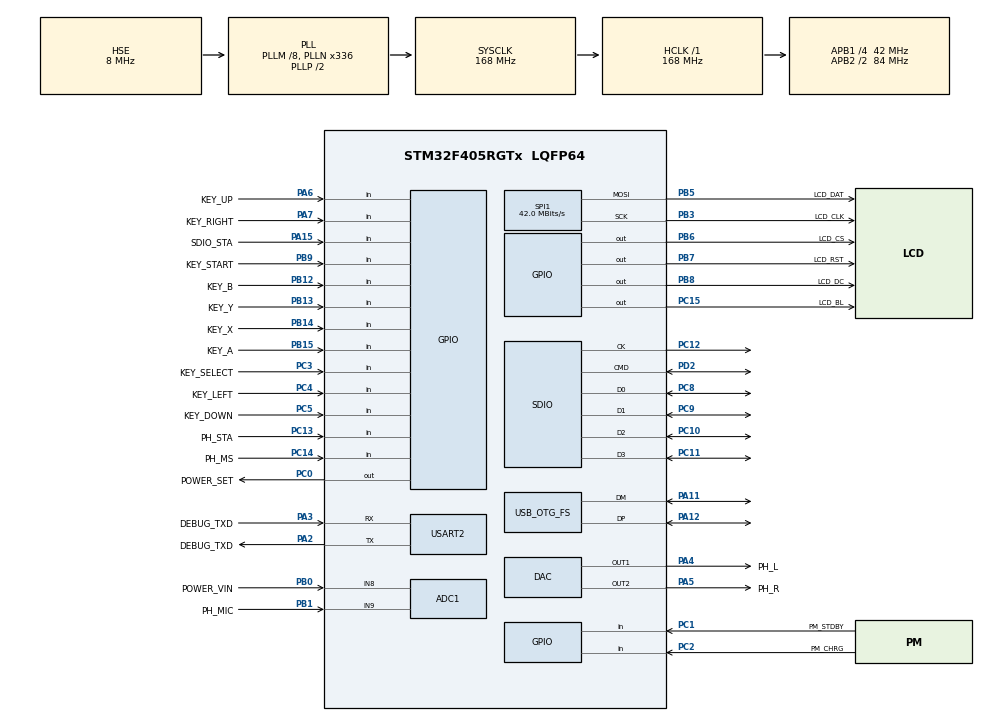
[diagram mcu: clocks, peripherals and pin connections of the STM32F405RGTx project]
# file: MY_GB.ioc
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ADC1.Channel-0\#ChannelRegularConversion=ADC_CHANNEL_8
ADC1.NbrOfConversionFlag=1
ADC1.Rank-0\#ChannelRegularConversion=1
ADC1.SamplingTime-0\#ChannelRegularConversion=ADC_SAMPLETIME_3CYCLES
ADC1.master=1
Dma.DAC1.3.Direction=DMA_MEMORY_TO_PERIPH
Dma.DAC1.3.FIFOMode=DMA_FIFOMODE_DISABLE
Dma.DAC1.3.Instance=DMA1_Stream5
Dma.DAC1.3.MemDataAlignment=DMA_MDATAALIGN_HALFWORD
Dma.DAC1.3.MemInc=DMA_MINC_ENABLE
Dma.DAC1.3.Mode=DMA_NORMAL
Dma.DAC1.3.PeriphDataAlignment=DMA_PDATAALIGN_HALFWORD
Dma.DAC1.3.PeriphInc=DMA_PINC_DISABLE
Dma.DAC1.3.Priority=DMA_PRIORITY_HIGH
Dma.DAC2.4.Direction=DMA_MEMORY_TO_PERIPH
Dma.DAC2.4.FIFOMode=DMA_FIFOMODE_DISABLE
Dma.DAC2.4.Instance=DMA1_Stream6
Dma.DAC2.4.MemDataAlignment=DMA_MDATAALIGN_HALFWORD
Dma.DAC2.4.MemInc=DMA_MINC_ENABLE
Dma.DAC2.4.Mode=DMA_NORMAL
Dma.DAC2.4.PeriphDataAlignment=DMA_PDATAALIGN_HALFWORD
Dma.DAC2.4.PeriphInc=DMA_PINC_DISABLE
Dma.DAC2.4.Priority=DMA_PRIORITY_HIGH
Dma.Request0=SDIO_RX
Dma.Request1=SDIO_TX
Dma.Request2=SPI1_TX
Dma.Request3=DAC1
Dma.Request4=DAC2
Dma.SDIO_RX.0.Direction=DMA_PERIPH_TO_MEMORY
Dma.SDIO_RX.0.FIFOMode=DMA_FIFOMODE_ENABLE
Dma.SDIO_RX.0.FIFOThreshold=DMA_FIFO_THRESHOLD_FULL
Dma.SDIO_RX.0.Instance=DMA2_Stream3
Dma.SDIO_RX.0.MemBurst=DMA_MBURST_INC4
Dma.SDIO_RX.0.MemDataAlignment=DMA_MDATAALIGN_WORD
Dma.SDIO_RX.0.MemInc=DMA_MINC_ENABLE
Dma.SDIO_RX.0.Mode=DMA_PFCTRL
Dma.SDIO_RX.0.PeriphBurst=DMA_PBURST_INC4
Dma.SDIO_RX.0.PeriphDataAlignment=DMA_PDATAALIGN_WORD
Dma.SDIO_RX.0.PeriphInc=DMA_PINC_DISABLE
Dma.SDIO_RX.0.Priority=DMA_PRIORITY_VERY_HIGH
Dma.SDIO_TX.1.Direction=DMA_MEMORY_TO_PERIPH
Dma.SDIO_TX.1.FIFOMode=DMA_FIFOMODE_ENABLE
Dma.SDIO_TX.1.FIFOThreshold=DMA_FIFO_THRESHOLD_FULL
Dma.SDIO_TX.1.Instance=DMA2_Stream6
Dma.SDIO_TX.1.MemBurst=DMA_MBURST_INC4
Dma.SDIO_TX.1.MemDataAlignment=DMA_MDATAALIGN_WORD
Dma.SDIO_TX.1.MemInc=DMA_MINC_ENABLE
Dma.SDIO_TX.1.Mode=DMA_PFCTRL
Dma.SDIO_TX.1.PeriphBurst=DMA_PBURST_INC4
Dma.SDIO_TX.1.PeriphDataAlignment=DMA_PDATAALIGN_WORD
Dma.SDIO_TX.1.PeriphInc=DMA_PINC_DISABLE
Dma.SDIO_TX.1.Priority=DMA_PRIORITY_VERY_HIGH
Dma.SPI1_TX.2.Direction=DMA_MEMORY_TO_PERIPH
Dma.SPI1_TX.2.FIFOMode=DMA_FIFOMODE_DISABLE
Dma.SPI1_TX.2.Instance=DMA2_Stream5
Dma.SPI1_TX.2.MemDataAlignment=DMA_MDATAALIGN_HALFWORD
Dma.SPI1_TX.2.MemInc=DMA_MINC_ENABLE
Dma.SPI1_TX.2.Mode=DMA_NORMAL
Dma.SPI1_TX.2.PeriphDataAlignment=DMA_PDATAALIGN_HALFWORD
Dma.SPI1_TX.2.PeriphInc=DMA_PINC_DISABLE
Dma.SPI1_TX.2.Priority=DMA_PRIORITY_VERY_HIGH
FATFS.BSP.number=1
FATFS._FS_NORTC=1
FATFS0.BSP.STBoard=false
FATFS0.BSP.api=Unknown
FATFS0.BSP.i2caddr=0
FATFS0.BSP.instance=PA15
FATFS0.BSP.ip=GPIO
FATFS0.BSP.mode=Input
FATFS0.BSP.name=Detect_SDIO
FATFS0.BSP.solution=PA15
Mcu.Family=STM32F4
Mcu.Name=STM32F405RGTx
Mcu.Package=LQFP64
NVIC.DMA1_Stream5_IRQn=true\:0\:0\:false\:false\:true\:false
NVIC.DMA1_Stream6_IRQn=true\:0\:0\:false\:false\:true\:false
NVIC.DMA2_Stream3_IRQn=true\:0\:0\:false\:false\:true\:false
NVIC.DMA2_Stream5_IRQn=true\:0\:0\:false\:false\:true\:false
NVIC.DMA2_Stream6_IRQn=true\:0\:0\:false\:false\:true\:false
NVIC.OTG_FS_IRQn=true\:0\:0\:false\:false\:true\:false
NVIC.PriorityGroup=NVIC_PRIORITYGROUP_4
NVIC.SDIO_IRQn=true\:0\:0\:false\:false\:true\:true
NVIC.TIM8_TRG_COM_TIM14_IRQn=true\:0\:0\:false\:false\:true\:false
NVIC.TIM8_UP_TIM13_IRQn=true\:0\:0\:false\:false\:true\:true
NVIC.TimeBase=TIM8_TRG_COM_TIM14_IRQn
NVIC.TimeBaseIP=TIM14
PA11.Mode=Device_Only
PA11.Signal=USB_OTG_FS_DM
PA12.Mode=Device_Only
PA12.Signal=USB_OTG_FS_DP
PA13.Mode=Serial_Wire
PA13.Signal=SYS_JTMS-SWDIO
PA14.Mode=Serial_Wire
PA14.Signal=SYS_JTCK-SWCLK
PA15.GPIO_Label=SDIO_STA
PA15.GPIO_PuPd=GPIO_PULLUP
PA15.Signal=GPIO_Input
PA2.GPIO_Label=DEBUG_TXD
PA2.Mode=Asynchronous
PA2.Signal=USART2_TX
PA3.GPIO_Label=DEBUG_TXD
PA3.Mode=Asynchronous
PA3.Signal=USART2_RX
PA4.GPIO_Label=PH_L
PA4.Signal=COMP_DAC1_group
PA5.GPIO_Label=PH_R
PA5.Signal=COMP_DAC2_group
PA6.GPIO_Label=KEY_UP
PA6.GPIO_PuPd=GPIO_PULLUP
PA6.Signal=GPIO_Input
PA7.GPIO_Label=KEY_RIGHT
PA7.GPIO_PuPd=GPIO_PULLUP
PA7.Signal=GPIO_Input
PB0.GPIO_Label=POWER_VIN
PB0.Signal=ADCx_IN8
PB1.GPIO_Label=PH_MIC
PB1.Signal=ADCx_IN9
PB12.GPIO_Label=KEY_B
PB12.GPIO_PuPd=GPIO_PULLUP
PB12.Signal=GPIO_Input
PB13.GPIO_Label=KEY_Y
PB13.GPIO_PuPd=GPIO_PULLUP
PB13.Signal=GPIO_Input
PB14.GPIO_Label=KEY_X
PB14.GPIO_PuPd=GPIO_PULLUP
PB14.Signal=GPIO_Input
PB15.GPIO_Label=KEY_A
PB15.GPIO_PuPd=GPIO_PULLUP
PB15.Signal=GPIO_Input
PB3.GPIO_Label=LCD_CLK
PB3.Mode=TX_Only_Simplex_Unidirect_Master
PB3.Signal=SPI1_SCK
PB5.GPIO_Label=LCD_DAT
PB5.Mode=TX_Only_Simplex_Unidirect_Master
PB5.Signal=SPI1_MOSI
PB6.GPIO_Label=LCD_CS
PB6.PinState=GPIO_PIN_SET
PB6.Signal=GPIO_Output
PB7.GPIO_Label=LCD_RST
PB7.PinState=GPIO_PIN_SET
PB7.Signal=GPIO_Output
PB8.GPIO_Label=LCD_DC
PB8.Signal=GPIO_Output
PB9.GPIO_Label=KEY_START
PB9.Signal=GPIO_Input
PC0.GPIO_Label=POWER_SET
PC0.PinState=GPIO_PIN_RESET
PC0.Signal=GPIO_Output
PC1.GPIO_Label=PM_STDBY
PC1.GPIO_Mode=GPIO_MODE_INPUT
PC1.GPIO_PuPd=GPIO_PULLUP
PC1.Signal=GPIO_Input
PC10.Mode=SD_4_bits_Wide_bus
PC10.Signal=SDIO_D2
PC11.Mode=SD_4_bits_Wide_bus
PC11.Signal=SDIO_D3
PC12.Mode=SD_4_bits_Wide_bus
PC12.Signal=SDIO_CK
PC13-ANTI_TAMP.GPIO_Label=PH_STA
PC13-ANTI_TAMP.GPIO_PuPd=GPIO_PULLUP
PC13-ANTI_TAMP.Signal=GPIO_Input
PC14-OSC32_IN.GPIO_Label=PH_MS
PC14-OSC32_IN.GPIO_PuPd=GPIO_PULLUP
PC14-OSC32_IN.Signal=GPIO_Input
PC15-OSC32_OUT.GPIO_Label=LCD_BL
PC15-OSC32_OUT.PinState=GPIO_PIN_SET
PC15-OSC32_OUT.Signal=GPIO_Output
PC2.GPIO_Label=PM_CHRG
PC2.GPIO_Mode=GPIO_MODE_INPUT
PC2.GPIO_PuPd=GPIO_PULLUP
PC2.Signal=GPIO_Input
PC3.GPIO_Label=KEY_SELECT
PC3.GPIO_PuPd=GPIO_PULLUP
PC3.Signal=GPIO_Input
PC4.GPIO_Label=KEY_LEFT
PC4.GPIO_PuPd=GPIO_PULLUP
PC4.Signal=GPIO_Input
PC5.GPIO_Label=KEY_DOWN
PC5.GPIO_PuPd=GPIO_PULLUP
PC5.Signal=GPIO_Input
PC8.Mode=SD_4_bits_Wide_bus
PC8.Signal=SDIO_D0
PC9.Mode=SD_4_bits_Wide_bus
PC9.Signal=SDIO_D1
PD2.Mode=SD_4_bits_Wide_bus
PD2.Signal=SDIO_CMD
PH0-OSC_IN.Mode=HSE-External-Oscillator
PH0-OSC_IN.Signal=RCC_OSC_IN
PH1-OSC_OUT.Mode=HSE-External-Oscillator
PH1-OSC_OUT.Signal=RCC_OSC_OUT
ProjectManager.HeapSize=0x1200
ProjectManager.StackSize=0x400
ProjectManager.TargetToolchain=MDK-ARM V5
RCC.48MHZClocksFreq_Value=48000000
RCC.AHBFreq_Value=168000000
RCC.APB1CLKDivider=RCC_HCLK_DIV4
RCC.APB1Freq_Value=42000000
RCC.APB1TimFreq_Value=84000000
RCC.APB2CLKDivider=RCC_HCLK_DIV2
RCC.APB2Freq_Value=84000000
RCC.APB2TimFreq_Value=168000000
RCC.CortexFreq_Value=168000000
RCC.HCLKFreq_Value=168000000
RCC.HSE_VALUE=8000000
RCC.HSI_VALUE=16000000
RCC.LSE_VALUE=32768
RCC.PLLM=8
RCC.PLLN=336
RCC.PLLQ=7
RCC.SYSCLKFreq_VALUE=168000000
RCC.SYSCLKSource=RCC_SYSCLKSOURCE_PLLCLK
RCC.VCOOutputFreq_Value=336000000
SDIO.ClockDiv=0
SH.ADCx_IN8.0=ADC1_IN8,IN8
SH.ADCx_IN9.0=ADC1_IN9,IN9
SH.COMP_DAC1_group.0=DAC_OUT1,DAC_OUT1
SH.COMP_DAC2_group.0=DAC_OUT2,DAC_OUT2
SPI1.BaudRatePrescaler=SPI_BAUDRATEPRESCALER_2
SPI1.CLKPhase=SPI_PHASE_2EDGE
SPI1.CLKPolarity=SPI_POLARITY_HIGH
SPI1.CalculateBaudRate=42.0 MBits/s
SPI1.Direction=SPI_DIRECTION_2LINES
SPI1.Mode=SPI_MODE_MASTER
SPI1.VirtualType=VM_MASTER
TIM13.Period=155
TIM13.Prescaler=83
USART2.VirtualMode=VM_ASYNC
USB_DEVICE.CLASS_NAME_FS=MSC
USB_DEVICE.MANUFACTURER_STRING-MSC_FS=LeonDevice
USB_DEVICE.VirtualMode-MSC_FS=Msc
USB_DEVICE.VirtualModeFS=Msc_FS
USB_OTG_FS.VirtualMode=Device_Only
VP_FATFS_VS_SDIO.Mode=SDIO
VP_SYS_VS_tim14.Mode=TIM14
VP_TIM13_VS_ClockSourceINT.Mode=Enable_Timer
VP_USB_DEVICE_VS_USB_DEVICE_MSC_FS.Mode=MSC_FS
board=custom

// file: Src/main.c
/* USER CODE BEGIN Header */
/**
  ******************************************************************************
  * @file           : main.c
  * @brief          : Main program body
  ******************************************************************************
  * This notice applies to any and all portions of this file
  * that are not between comment pairs USER CODE BEGIN and
  * USER CODE END. Other portions of this file, whether
  * inserted by the user or by software development tools
  * are owned by their respective copyright owners.
  *
  * Copyright (c) 2019 STMicroelectronics International N.V.
  * All rights reserved.
  *
  * Redistribution and use in source and binary forms, with or without
  * modification, are permitted, provided that the following conditions are met:
  *
  * 1. Redistribution of source code must retain the above copyright notice,
  *    this list of conditions and the following disclaimer.
  * 2. Redistributions in binary form must reproduce the above copyright notice,
  *    this list of conditions and the following disclaimer in the documentation
  *    and/or other materials provided with the distribution.
  * 3. Neither the name of STMicroelectronics nor the names of other
  *    contributors to this software may be used to endorse or promote products
  *    derived from this software without specific written permission.
  * 4. This software, including modifications and/or derivative works of this
  *    software, must execute solely and exclusively on microcontroller or
  *    microprocessor devices manufactured by or for STMicroelectronics.
  * 5. Redistribution and use of this software other than as permitted under
  *    this license is void and will automatically terminate your rights under
  *    this license.
  *
  * THIS SOFTWARE IS PROVIDED BY STMICROELECTRONICS AND CONTRIBUTORS "AS IS"
  * AND ANY EXPRESS, IMPLIED OR STATUTORY WARRANTIES, INCLUDING, BUT NOT
  * LIMITED TO, THE IMPLIED WARRANTIES OF MERCHANTABILITY, FITNESS FOR A
  * PARTICULAR PURPOSE AND NON-INFRINGEMENT OF THIRD PARTY INTELLECTUAL PROPERTY
  * RIGHTS ARE DISCLAIMED TO THE FULLEST EXTENT PERMITTED BY LAW. IN NO EVENT
  * SHALL STMICROELECTRONICS OR CONTRIBUTORS BE LIABLE FOR ANY DIRECT, INDIRECT,
  * INCIDENTAL, SPECIAL, EXEMPLARY, OR CONSEQUENTIAL DAMAGES (INCLUDING, BUT NOT
  * LIMITED TO, PROCUREMENT OF SUBSTITUTE GOODS OR SERVICES; LOSS OF USE, DATA,
  * OR PROFITS; OR BUSINESS INTERRUPTION) HOWEVER CAUSED AND ON ANY THEORY OF
  * LIABILITY, WHETHER IN CONTRACT, STRICT LIABILITY, OR TORT (INCLUDING
  * NEGLIGENCE OR OTHERWISE) ARISING IN ANY WAY OUT OF THE USE OF THIS SOFTWARE,
  * EVEN IF ADVISED OF THE POSSIBILITY OF SUCH DAMAGE.
  *
  ******************************************************************************
  */
/* USER CODE END Header */

#include "main.h"
#include "adc.h"
#include "dac.h"
#include "dma.h"
#include "fatfs.h"
#include "sdio.h"
#include "spi.h"
#include "tim.h"
#include "usart.h"
#include "usb_device.h"
#include "gpio.h"

/* USER CODE BEGIN Includes */
#include "oled.h"
#include "FreeRTOS.h"
#include "task.h"
#include "lvgl.h"
#include "GUI_Main.h"
#include "keyboard.h"
/* USER CODE END Includes */

/* USER CODE BEGIN PV */
static TaskHandle_t xHandleTaskDacTest = NULL;
/* USER CODE END PV */

void SystemClock_Config(void);

/* USER CODE BEGIN 0 */

static void vTaskDacTest(void *pvParameters)
{
  uint16_t dacval = 0;
  HAL_DAC_Start(&hdac, DAC_CHANNEL_1);
  HAL_DAC_SetValue(&hdac, DAC_CHANNEL_1, DAC_ALIGN_12B_R, 0);
  HAL_DAC_Start(&hdac, DAC_CHANNEL_2);
  HAL_DAC_SetValue(&hdac, DAC_CHANNEL_2, DAC_ALIGN_12B_R, 0);
  //HAL_TIM_Base_Start_IT(&htim13);
  while(1)
  {
    /*if(dacval<0xFFF)
      dacval+=1;
    else
      dacval = 0;
    HAL_DAC_SetValue(&hdac, DAC_CHANNEL_1, DAC_ALIGN_12B_R, dacval);*/
    vTaskDelay(10);
  }
}

/* USER CODE END 0 */

int main(void)
{
  /* USER CODE BEGIN 1 */
  //SCB->VTOR = FLASH_BASE | 0xC000;
  uint8_t res;
  /* USER CODE END 1 */

  /* MCU Configuration--------------------------------------------------------*/

  /* Reset of all peripherals, Initializes the Flash interface and the Systick. */
  HAL_Init();

  /* Configure the system clock */
  SystemClock_Config();

  /* Initialize all configured peripherals */
  MX_GPIO_Init();
  MX_DMA_Init();
  MX_USB_DEVICE_Init();
  MX_USART2_UART_Init();
  MX_DAC_Init();
  MX_ADC1_Init();
  MX_SDIO_SD_Init();
  MX_SPI1_Init();
  MX_FATFS_Init();
  MX_TIM13_Init();
  FLASH_If_Init();
  /* USER CODE BEGIN 2 */

  Lcd_Init();			//初始化OLED
  if(f_mount(&SDFatFS, (TCHAR const*)SDPath, 0) != FR_OK)
  {
    /* FatFs Initialization Error */
    Error_Handler();
  }

  /* USER CODE END 2 */

  /* Infinite loop */
  /* USER CODE BEGIN WHILE */
  xTaskCreate( vTaskKeyboard, /* 任务函数 */
              "vTaskKeyboard", /* 任务名 */
              512/4, /* 任务栈大小，单位 word，也就是 4 字节 */
              NULL, /* 任务参数 */
              3, /* 任务优先级*/
              &xHandleTaskKeyboard ); /* 任务句柄 */
  xTaskCreate( vTaskDacTest, /* 任务函数 */
              "vTaskDacTest", /* 任务名 */
              512/4, /* 任务栈大小，单位 word，也就是 4 字节 */
              NULL, /* 任务参数 */
              3, /* 任务优先级*/
              &xHandleTaskDacTest ); /* 任务句柄 */
  xTaskCreate( vTaskGuiMain, /* 任务函数 */
              "vTaskGuiMain", /* 任务名 */
              6*1024/4, /* 任务栈大小，单位 word，也就是 4 字节 */
              NULL, /* 任务参数 */
              2, /* 任务优先级*/
              &xHandleTaskGuiMain ); /* 任务句柄 */
  vTaskStartScheduler();
  while (1)
  {
    /* USER CODE END WHILE */

  }
}

void SystemClock_Config(void)
{
  RCC_OscInitTypeDef RCC_OscInitStruct = {0};
  RCC_ClkInitTypeDef RCC_ClkInitStruct = {0};

  /**Configure the main internal regulator output voltage
  */
  __HAL_RCC_PWR_CLK_ENABLE();
  __HAL_PWR_VOLTAGESCALING_CONFIG(PWR_REGULATOR_VOLTAGE_SCALE1);
  /**Initializes the CPU, AHB and APB busses clocks
  */
  RCC_OscInitStruct.OscillatorType = RCC_OSCILLATORTYPE_HSE;
  RCC_OscInitStruct.HSEState = RCC_HSE_ON;
  RCC_OscInitStruct.PLL.PLLState = RCC_PLL_ON;
  RCC_OscInitStruct.PLL.PLLSource = RCC_PLLSOURCE_HSE;
  RCC_OscInitStruct.PLL.PLLM = 8;
  RCC_OscInitStruct.PLL.PLLN = 336;
  RCC_OscInitStruct.PLL.PLLP = RCC_PLLP_DIV2;
  RCC_OscInitStruct.PLL.PLLQ = 7;
  if (HAL_RCC_OscConfig(&RCC_OscInitStruct) != HAL_OK)
  {
    Error_Handler();
  }
  /**Initializes the CPU, AHB and APB busses clocks
  */
  RCC_ClkInitStruct.ClockType = RCC_CLOCKTYPE_HCLK|RCC_CLOCKTYPE_SYSCLK
                              |RCC_CLOCKTYPE_PCLK1|RCC_CLOCKTYPE_PCLK2;
  RCC_ClkInitStruct.SYSCLKSource = RCC_SYSCLKSOURCE_PLLCLK;
  RCC_ClkInitStruct.AHBCLKDivider = RCC_SYSCLK_DIV1;
  RCC_ClkInitStruct.APB1CLKDivider = RCC_HCLK_DIV4;
  RCC_ClkInitStruct.APB2CLKDivider = RCC_HCLK_DIV2;

  if (HAL_RCC_ClockConfig(&RCC_ClkInitStruct, FLASH_LATENCY_5) != HAL_OK)
  {
    Error_Handler();
  }
}

void HAL_TIM_PeriodElapsedCallback(TIM_HandleTypeDef *htim)
{
  /* USER CODE BEGIN Callback 0 */
  uint16_t buff;
  extern uint16_t apu_count;
  /* USER CODE END Callback 0 */
  if (htim->Instance == TIM14) {
    HAL_IncTick();
    lv_tick_inc(1);
  }
  /* USER CODE BEGIN Callback 1 */
  else if(htim->Instance == TIM13)
  {
    if( apu_count < 367)
  	{
  	  extern uint16_t *wave_buffers;
  		buff = wave_buffers[apu_count];
      HAL_DAC_SetValue(&hdac, DAC_CHANNEL_1, DAC_ALIGN_12B_R, buff);
      HAL_DAC_SetValue(&hdac, DAC_CHANNEL_2, DAC_ALIGN_12B_R, buff);
  		apu_count++;
  	}
  }
  /* USER CODE END Callback 1 */
}

void Error_Handler(void)
{
  /* USER CODE BEGIN Error_Handler_Debug */
  /* User can add his own implementation to report the HAL error return state */
  printf("system is error\r\n");
  while(1);
  /* USER CODE END Error_Handler_Debug */
}

/************************ (C) COPYRIGHT STMicroelectronics *****END OF FILE****/
